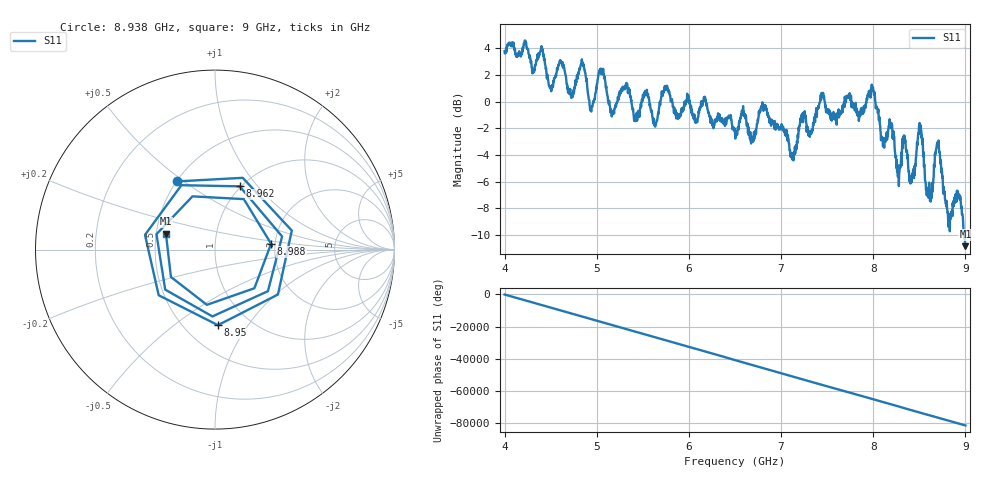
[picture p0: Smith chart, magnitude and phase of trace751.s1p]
! Created with skrf 1.8.0 (http://scikit-rf.org).
# Hz S RI R 50.0
!freq ReS11 ImS11
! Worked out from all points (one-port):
!   1601 points, 4 GHz to 9 GHz, reference 50 ohm
!   lowest |S11| = -10.8 dB at 9 GHz (marker M1), VSWR 1.81, Z = 28.1 + j5.46 ohm
!   |S11| at or under -10 dB: 8.987148 GHz to end of sweep
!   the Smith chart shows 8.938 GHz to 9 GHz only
!   S11 on the Smith chart (normalised r, x): 8.938 GHz: 0.50, +0.47; 8.95 GHz: 0.72, -0.74; 8.962 GHz: 0.99, +0.81; 8.988 GHz: 1.90, +0.14; 9 GHz: 0.56, +0.11
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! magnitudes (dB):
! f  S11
! 4 GHz  3.8
! 4.4 GHz  4.2
! 4.503 GHz  1.0
! 4.625 GHz  2.7
! 4.722 GHz  0.5
! 4.85 GHz  2.9
! 4.938 GHz  -0.7
! 5.044 GHz  2.2
! 5.162 GHz  -1.1
! 5.25 GHz  0.7
! 5.875 GHz  -1.0
! 6.5 GHz  -2.3
! 6.809 GHz  -0.7
! 7.125 GHz  -4.1
! 7.441 GHz  0.5
! 7.75 GHz  0.1
! 7.994 GHz  0.8
! 8.106 GHz  -3.4
! 8.375 GHz  -4.0
! 8.509 GHz  -2.4
! 8.6 GHz  -7.2
! 8.697 GHz  -3.3
! 8.819 GHz  -8.6
! 8.938 GHz  -7.2
! 8.95 GHz  -7.5
! 8.962 GHz  -8.4
! 8.988 GHz  -10.1
! 9 GHz  -10.8
